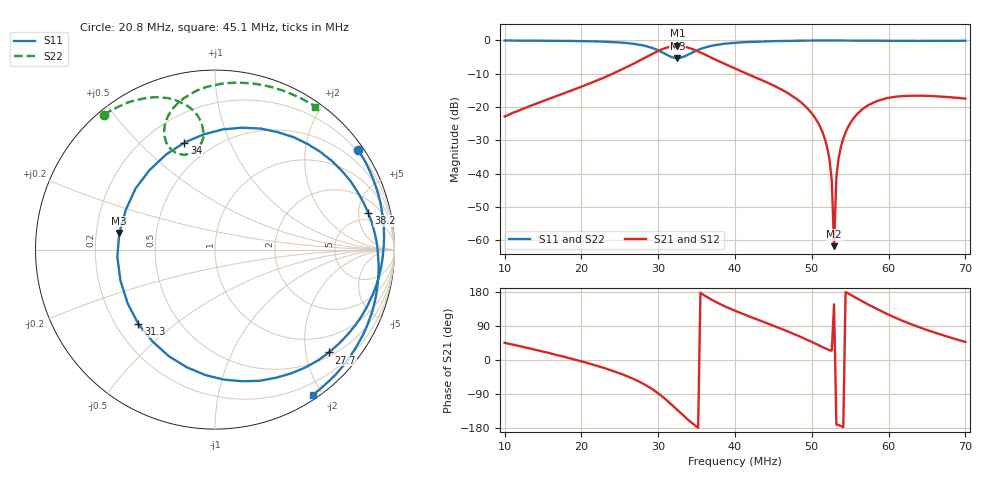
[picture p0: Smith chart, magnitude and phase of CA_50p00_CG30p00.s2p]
#  HZ  S  RI  R  50.00
! Rohde & Schwarz ZVT8 8Ports - Version 4.11 - 1300.0000k08 SN: 100242
! Date: 2026-07-31 15:15:46
! Measurements: S11 S21 S12 S22
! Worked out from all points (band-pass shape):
!   201 points, 10 MHz to 70 MHz, reference 50 ohm
!   highest |S21| = -1.62 dB at 32.5 MHz (marker M1); lowest = -61.7 dB at 52.9 MHz (marker M2)
!   |S21| within 3 dB of the highest: 28.75 MHz to 36.43 MHz (7.676 MHz wide, 23.6 % of centre)
!   lowest |S11| = -5.3 dB at 32.5 MHz (marker M3), VSWR 3.36, Z = 15 + j3.92 ohm
!   |S11| at or under -10 dB: nowhere
!   |S22| runs from -5.1 to 0.0 dB; largest |S21 - S12| = 0.0025
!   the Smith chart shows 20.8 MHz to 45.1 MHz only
!   S11 on the Smith chart (normalised r, x): 20.8 MHz: 0.16, +3.20; 27.7 MHz: 0.58, -2.48; 31.3 MHz: 0.29, -0.38; 34 MHz: 0.36, +0.69; 38.2 MHz: 3.62, +6.48; 45.1 MHz: 0.06, -1.88
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1e7  -0.4045 0.9102  0.0505 0.0514  0.0505 0.0513  -0.92 0.3816
2.02e7  0.749 0.6229  0.2055 -0.0166  0.2052 -0.0167  -0.6446 0.7311
2.08e7  0.7988 0.5526  0.2173 -0.0305  0.2172 -0.0303  -0.6203 0.7501
2.47e7  0.9348 -0.0365  0.2859 -0.1868  0.2855 -0.1849  -0.4194 0.8365
2.77e7  0.6348 -0.5727  0.2615 -0.4349  0.2605 -0.4358  -0.2164 0.831
3.01e7  -0.0542 -0.699  0.00579 -0.7031  0.00659 -0.7038  -0.0739 0.7019
3.13e7  -0.4264 -0.4159  -0.2676 -0.7456  -0.2665 -0.7456  -0.0741 0.5978
3.25e7  -0.5334 0.0924  -0.556 -0.6158  -0.5558 -0.6147  -0.1467 0.5334
3.4e7  -0.1707 0.5961  -0.7252 -0.2683  -0.7243 -0.2678  -0.2573 0.573
3.82e7  0.854 0.2046  -0.3901 0.261  -0.3897 0.26  -0.1322 0.8689
4e7  0.9109 -0.1402  -0.2429 0.2893  -0.2425 0.2896  0.0258 0.9223
4.51e7  0.5472 -0.8077  0.000915 0.2086  0.000895 0.2082  0.5599 0.7971
5.02e7  -0.0779 -0.9921  0.0522 0.0537  0.0523 0.0539  0.9876 0.0872
5.23e7  -0.3328 -0.9404  0.0148 0.00714  0.0148 0.00714  0.912 -0.3936
5.26e7  -0.3665 -0.9266  0.00724 0.00334  0.00722 0.00339  0.8802 -0.4629
5.29e7  -0.4014 -0.9133  -0.000684 0.000448  -0.00065 0.00047  0.8411 -0.5309
5.32e7  -0.4336 -0.8989  -0.00885 -0.00151  -0.00885 -0.00151  0.7958 -0.5964
5.44e7  -0.558 -0.8254  -0.0417 0.000569  -0.0417 0.000507  0.5579 -0.8223
5.68e7  -0.7625 -0.6359  -0.0858 0.0448  -0.0857 0.0449  -0.0758 -0.9872
6.01e7  -0.9366 -0.3084  -0.0663 0.1211  -0.0663 0.1207  -0.761 -0.6246
6.4e7  -0.977 0.1193  0.00906 0.148  0.00939 0.1475  -0.984 0.00222
7e7  -0.6892 0.7072  0.09 0.099  0.0901 0.0988  -0.7678 0.6204
